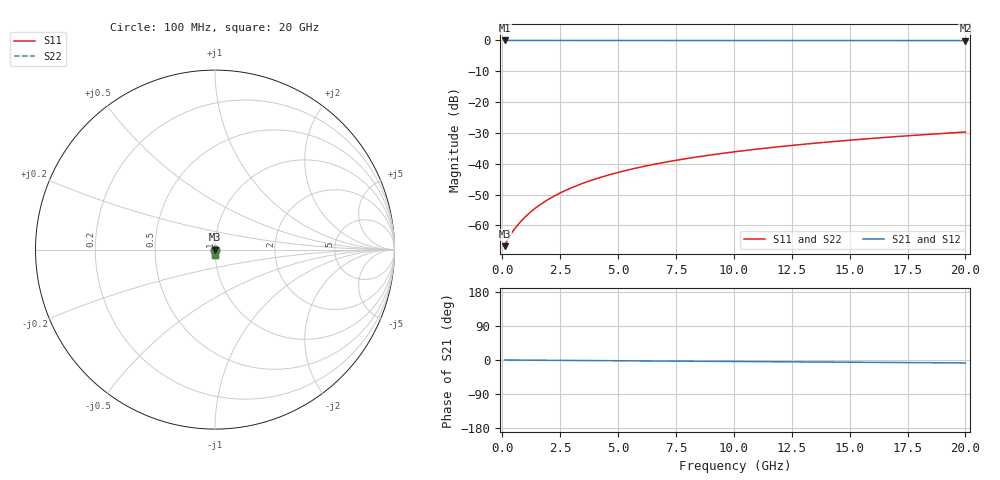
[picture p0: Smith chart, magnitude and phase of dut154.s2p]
! Touchstone file exported from HFSS 2026.1.0
!  File:  C:/ffzhzh/LocalFiles/Ansys_Project_Files/temp_train_TMRDL_154_1782983194_45328.aedt
!  Generated:  05:07:41 PM Jul  2, 2026
!  Design:  TMRDL
!  Project:  temp_train_TMRDL_154_1782983194_45328
! Variables:
!  h_bsmrdl = 2um
!  h_ox = 20um
!  h_rdl = 5um
!  h_sub = 80um
!  h_tmrdl = 5.62um
!  h_tsv = 80um
!  h_via = 3um
!  l_bsmrdl = 300um
!  l_sub = 524.13um
!  l_tmrdl = 124.13um
!  m_sub = 200um
!  pitch = 32.71um
!  r_tsv = 6um
!  s_tmrdl = 10um
!  w_bsmrdl = 18um
!  w_sub = 500um
!  w_tmrdl = 29.49um
!  x_tsv_center1 = 138.875um
!  x_tsv_center2 = 456.875um
!  x_tsv_center3 = 610.495um
!  x_tsv_center4 = 928.495um
!  x_tsv_center5 = 1082.115um
!  x_tsv_center6 = 1400.115um
# GHz S MA R 50.000000
! Terminal data exported
! Port[1] = TM_RDL1_1_T1
! Port[2] = TM_RDL1_1_T2
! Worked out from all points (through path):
!   200 points, 100 MHz to 20 GHz, reference 50 ohm
!   highest |S21| = 0.00 dB at 100 MHz (marker M1); lowest = 0.0 dB at 20 GHz (marker M2)
!   group delay of S21, straight-line fit = 1.07 ps
!   lowest |S11| = -66.7 dB at 100 MHz (marker M3), VSWR 1.00, Z = 50 + j0.00082 ohm
!   |S11| at or under -10 dB: start of sweep to end of sweep
!   |S22| runs from -66.7 to -29.7 dB; largest |S21 - S12| = 6.2e-15
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0.1  0.0004607 1.0  0.9995 -0.0  0.9995 -0.0  0.0004607 1.0
! Gamma 0 0 0 0
! Port Impedance 50 0 50 0
0.2  0.0005602 -6.6  0.9994 -0.1  0.9994 -0.1  0.0005602 -6.6
0.3  0.0006566 -16.4  0.9994 -0.1  0.9994 -0.1  0.0006566 -16.4
0.4  0.0007504 -25.4  0.9993 -0.2  0.9993 -0.2  0.0007504 -25.4
0.6  0.0009461 -38.8  0.9993 -0.3  0.9993 -0.3  0.0009461 -38.8
0.9  0.00127 -51.1  0.9992 -0.4  0.9992 -0.4  0.00127 -51.1
1.1  0.001503 -56.1  0.9992 -0.5  0.9992 -0.5  0.001503 -56.1
1.3  0.001745 -59.8  0.9991 -0.5  0.9991 -0.5  0.001745 -59.8
1.8  0.002389 -65.5  0.999 -0.7  0.999 -0.7  0.002389 -65.5
2.3  0.003074 -68.7  0.9988 -0.9  0.9988 -0.9  0.003075 -68.7
2.9  0.003943 -71.2  0.9986 -1.2  0.9986 -1.2  0.003944 -71.2
3.5  0.004852 -73.0  0.9985 -1.4  0.9985 -1.4  0.004852 -73.0
4.2  0.005949 -74.7  0.9982 -1.7  0.9982 -1.7  0.005949 -74.7
5  0.007235 -76.3  0.998 -2.0  0.998 -2.0  0.007235 -76.3
5.9  0.00871 -77.9  0.9978 -2.4  0.9978 -2.4  0.00871 -77.9
6.8  0.0102 -79.2  0.9976 -2.7  0.9976 -2.7  0.0102 -79.2
8.3  0.01271 -81.1  0.9972 -3.3  0.9972 -3.3  0.01271 -81.1
10.1  0.01575 -83.0  0.9969 -4.0  0.9969 -4.0  0.01575 -83.0
11.7  0.01847 -84.4  0.9966 -4.6  0.9966 -4.6  0.01847 -84.4
13.4  0.02137 -85.8  0.9963 -5.2  0.9963 -5.2  0.02137 -85.8
16.7  0.02704 -88.1  0.9957 -6.5  0.9957 -6.5  0.02704 -88.0
20  0.03273 -90.0  0.9951 -7.7  0.9951 -7.7  0.03273 -90.0
